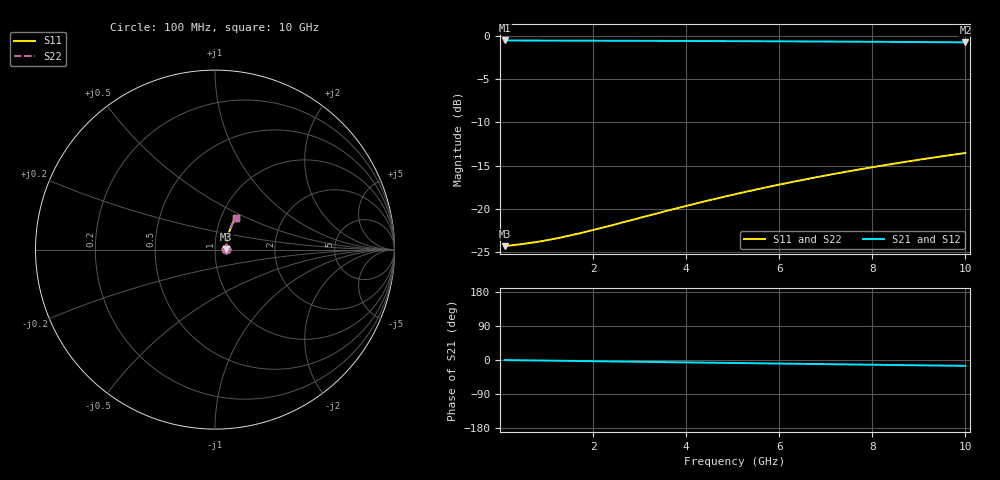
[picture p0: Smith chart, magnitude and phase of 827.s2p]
# Hz S RI R 50.00
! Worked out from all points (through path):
!   100 points, 100 MHz to 10 GHz, reference 50 ohm
!   highest |S21| = -0.55 dB at 100 MHz (marker M1); lowest = -0.8 dB at 10 GHz (marker M2)
!   group delay of S21, straight-line fit = 4.31 ps
!   lowest |S11| = -24.3 dB at 100 MHz (marker M3), VSWR 1.13, Z = 56.5 + j0.215 ohm
!   |S11| at or under -10 dB: start of sweep to end of sweep
!   |S22| runs from -24.3 to -13.5 dB; largest |S21 - S12| = 0
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1e8  0.061 0.0019  0.939 -0.00258  0.939 -0.00258  0.061 0.0019
6e8  0.0624 0.0114  0.9376 -0.0154  0.9376 -0.0154  0.0624 0.0114
9e8  0.063 0.017  0.937 -0.0232  0.937 -0.0232  0.063 0.017
1.1e9  0.0634 0.0208  0.9366 -0.0283  0.9366 -0.0283  0.0634 0.0208
1.3e9  0.0638 0.0245  0.9361 -0.0334  0.9361 -0.0334  0.0638 0.0245
1.5e9  0.0643 0.0283  0.9356 -0.0385  0.9356 -0.0385  0.0643 0.0283
1.8e9  0.065 0.0339  0.9349 -0.0462  0.9349 -0.0462  0.065 0.0339
2.3e9  0.0664 0.0433  0.9335 -0.0589  0.9335 -0.0589  0.0664 0.0433
3.4e9  0.0701 0.0636  0.9296 -0.0868  0.9296 -0.0868  0.0701 0.0636
3.9e9  0.0722 0.0727  0.9274 -0.0993  0.9274 -0.0993  0.0722 0.0727
4.3e9  0.074 0.08  0.9255 -0.1093  0.9255 -0.1093  0.074 0.08
4.7e9  0.0759 0.0872  0.9235 -0.1193  0.9235 -0.1193  0.0759 0.0872
5.1e9  0.078 0.0944  0.9213 -0.1292  0.9213 -0.1292  0.078 0.0944
5.5e9  0.0803 0.1015  0.919 -0.139  0.919 -0.139  0.0803 0.1015
5.9e9  0.0827 0.1085  0.9165 -0.1488  0.9165 -0.1488  0.0827 0.1085
6.3e9  0.0852 0.1155  0.9138 -0.1585  0.9138 -0.1585  0.0852 0.1155
6.7e9  0.0879 0.1224  0.911 -0.1681  0.911 -0.1681  0.0879 0.1224
7.5e9  0.0936 0.136  0.905 -0.1871  0.905 -0.1871  0.0936 0.136
7.9e9  0.0967 0.1426  0.9017 -0.1965  0.9017 -0.1965  0.0967 0.1426
8.4e9  0.1008 0.1509  0.8975 -0.2082  0.8975 -0.2082  0.1008 0.1509
9.2e9  0.1076 0.1637  0.8903 -0.2265  0.8903 -0.2265  0.1076 0.1637
1e10  0.115 0.1762  0.8825 -0.2445  0.8825 -0.2445  0.115 0.1762
